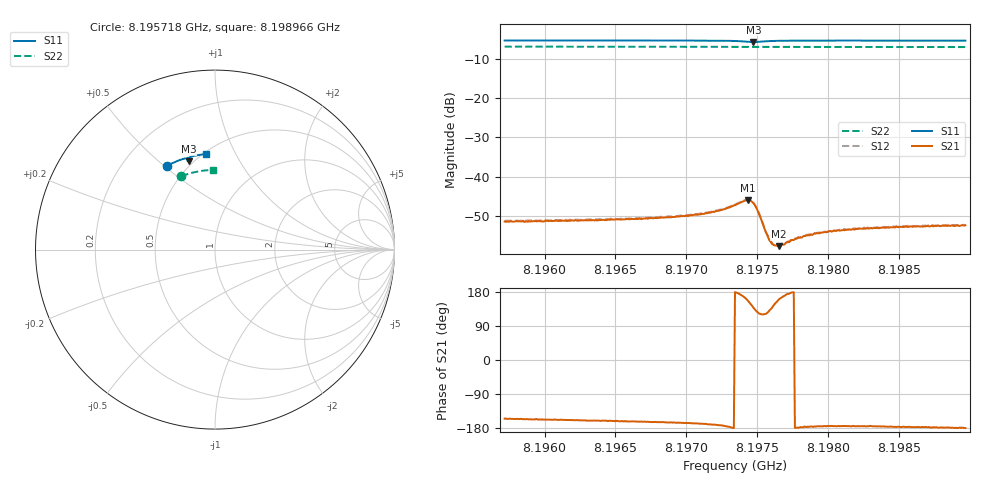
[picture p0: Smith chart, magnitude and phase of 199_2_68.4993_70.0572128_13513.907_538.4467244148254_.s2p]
#  HZ  S  RI  R  50.00
! Rohde & Schwarz Vector Network Analyzer
! Rohde-Schwarz,ZNB20-2Port,1311601062101988,3.16
! Created: UTC 3/20/2024, 5:12:40 PM
! freq[Hz]  re:S11  im:S11  re:S21  im:S21  re:S12  im:S12  re:S22  im:S22
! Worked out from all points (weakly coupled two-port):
!   401 points, 8.195718 GHz to 8.198966 GHz, reference 50 ohm
!   highest |S21| = -45.96 dB at 8.197432 GHz (marker M1); lowest = -57.6 dB at 8.197651 GHz (marker M2)
!   lowest |S11| = -5.8 dB at 8.197472 GHz (marker M3), VSWR 3.11, Z = 23.7 + j31.6 ohm
!   |S11| at or under -10 dB: nowhere
!   |S22| runs from -7.1 to -7.0 dB; largest |S21 - S12| = 0.00025
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8.1957184e9  -0.2654 0.4671  -0.00244 -0.00116  -0.00255 -0.00105  -0.187 0.4078
8.1962625e9  -0.2305 0.4847  -0.00263 -0.00099  -0.00273 -0.000903  -0.1585 0.4187
8.1968065e9  -0.1941 0.4996  -0.0029 -0.000823  -0.00298 -0.000722  -0.1293 0.4276
8.1970745e9  -0.1744 0.5058  -0.00322 -0.000713  -0.00332 -0.000566  -0.1145 0.4314
8.1972369e9  -0.1605 0.5085  -0.00372 -0.0005  -0.00382 -0.000354  -0.1055 0.4334
8.1973424e9  -0.1494 0.5076  -0.00436 6.48e-05  -0.00444 0.000262  -0.0996 0.4344
8.1974074e9  -0.1422 0.5021  -0.00478 0.0012  -0.00481 0.00145  -0.096 0.4348
8.1974317e9  -0.1412 0.4979  -0.00464 0.00195  -0.00464 0.00218  -0.0947 0.4349
8.1974561e9  -0.1429 0.4936  -0.00409 0.00274  -0.00406 0.00292  -0.0934 0.4352
8.1974723e9  -0.1456 0.4917  -0.00343 0.00309  -0.00338 0.00327  -0.0925 0.4352
8.1975048e9  -0.1519 0.4927  -0.00207 0.00293  -0.00195 0.00314  -0.091 0.4357
8.1975617e9  -0.1547 0.5018  -0.00103 0.00164  -0.001 0.00171  -0.0878 0.4365
8.197586e9  -0.1533 0.5051  -0.00102 0.00117  -0.000992 0.00125  -0.0867 0.4368
8.1976023e9  -0.1521 0.5068  -0.00104 0.000952  -0.00103 0.00104  -0.0857 0.437
8.1976185e9  -0.1508 0.5085  -0.00111 0.000759  -0.0011 0.00081  -0.0848 0.4371
8.197651e9  -0.1478 0.5109  -0.00123 0.000465  -0.00122 0.000535  -0.0829 0.4376
8.1976753e9  -0.1458 0.5123  -0.00134 0.000333  -0.00137 0.000385  -0.0816 0.4378
8.1977728e9  -0.1372 0.5162  -0.00163 -3.78e-05  -0.00166 6.98e-05  -0.0761 0.4386
8.1978864e9  -0.1282 0.5191  -0.00182 -0.000131  -0.00189 -4.83e-05  -0.0697 0.4394
8.198057e9  -0.1153 0.5224  -0.00204 -0.000187  -0.00208 -8.81e-05  -0.0599 0.4405
8.1984305e9  -0.0882 0.5275  -0.00225 -0.000171  -0.00233 -6.19e-05  -0.039 0.4421
8.1989664e9  -0.0499 0.5319  -0.00242 -1.56e-05  -0.00246 8.05e-05  -0.0085 0.4429
